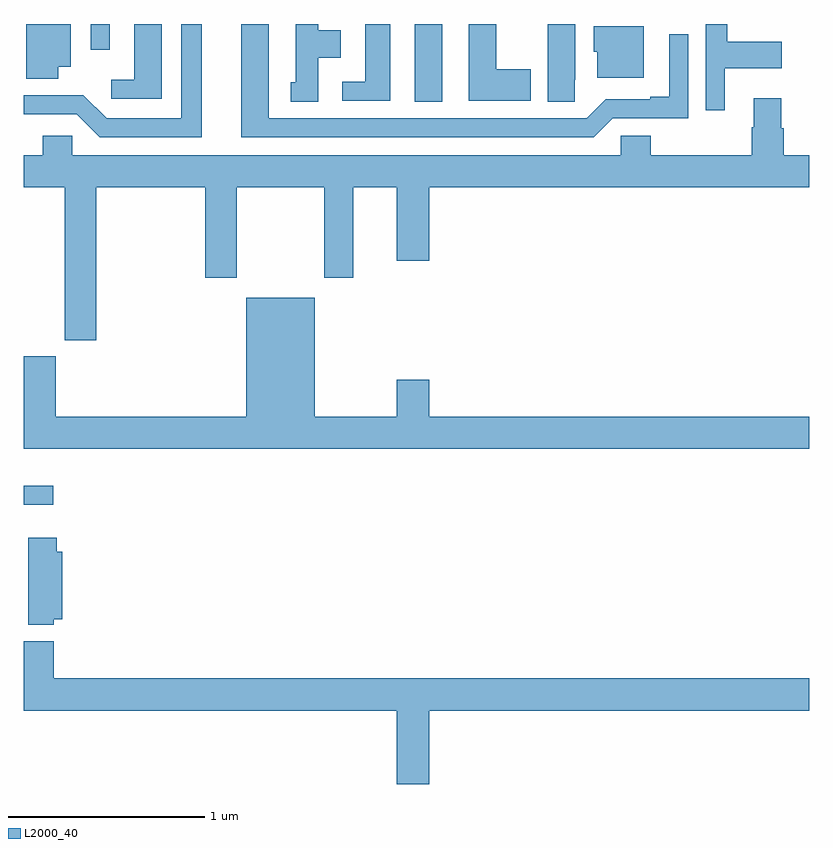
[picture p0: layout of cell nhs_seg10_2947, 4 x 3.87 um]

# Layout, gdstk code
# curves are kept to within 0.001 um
import gdstk
lib = gdstk.Library(unit=1e-6, precision=1e-09)
def R(c, l, rs):  # rectangles x0, y0, x1, y1
    for r in rs: c.add(gdstk.rectangle(r[:2], r[2:], *l))
def P(c, l, *ps):  # polygons
    for p in ps: c.add(gdstk.Polygon(p, *l))
L2000_40 = (2000, 40)

nhs_seg10_2947 = lib.new_cell('nhs_seg10_2947')
R(nhs_seg10_2947, L2000_40, [(271,1280.052,271.15,1280.148), (272.99,1282.105,273.13,1282.5), (271.341,1282.368,271.437,1282.5)])
P(nhs_seg10_2947, L2000_40, [(273.807,1282.216),(273.808,1282.216),(273.808,1282.5),(273.668,1282.5),(273.668,1282.105),(273.807,1282.105)],
  [(272.5,1282.328),(272.614,1282.328),(272.614,1282.468),(272.5,1282.468),(272.5,1282.5),(272.384,1282.5),(272.384,1282.203),(272.36,1282.203),(272.36,1282.105),(272.5,1282.105)],
  [(271.702,1282.5),(271.562,1282.5),(271.562,1282.216),(271.446,1282.216),(271.446,1282.119),(271.702,1282.119)],
  [(271.177,1282.283),(271.24,1282.283),(271.24,1282.5),(271.013,1282.5),(271.013,1282.222),(271.177,1282.222)],
  [(272.866,1282.5),(272.738,1282.5),(272.738,1282.206),(272.622,1282.206),(272.622,1282.11),(272.866,1282.11)],
  [(271.906,1282.5),(271.802,1282.5),(271.802,1282.02),(271.422,1282.02),(271.304,1282.138),(271,1282.137),(271,1282.04),(271.269,1282.041),(271.386,1281.924),(271.906,1281.924)],
  [(273.583,1282.269),(273.406,1282.269),(273.406,1282.5),(273.266,1282.5),(273.266,1282.109),(273.583,1282.109)],
  [(274.57,1282.274),(274.861,1282.274),(274.861,1282.409),(274.582,1282.409),(274.582,1282.5),(274.473,1282.5),(274.473,1282.062),(274.57,1282.062)],
  [(273.999,1282.02),(274.383,1282.02),(274.383,1282.447),(274.286,1282.447),(274.286,1282.129),(274.19,1282.129),(274.19,1282.116),(273.963,1282.116),(273.867,1282.02),(272.248,1282.02),(272.248,1282.5),(272.108,1282.5),(272.108,1281.924),(273.903,1281.924)],
  [(274.156,1282.489),(273.902,1282.489),(273.902,1282.359),(273.92,1282.359),(273.92,1282.226),(274.156,1282.226)],
  [(271.37,1281.668),(271.925,1281.668),(271.925,1281.207),(272.085,1281.207),(272.085,1281.668),(272.53,1281.668),(272.53,1281.207),(272.677,1281.207),(272.677,1281.668),(272.9,1281.668),(272.9,1281.294),(273.064,1281.294),(273.064,1281.668),(275,1281.668),(275,1281.832),(274.871,1281.832),(274.871,1281.969),(274.858,1281.969),(274.858,1282.123),(274.718,1282.123),(274.718,1281.974),(274.706,1281.974),(274.706,1281.832),(274.193,1281.832),(274.193,1281.93),(274.041,1281.93),(274.041,1281.832),(271.248,1281.832),(271.248,1281.93),(271.097,1281.93),(271.097,1281.832),(271,1281.832),(271,1281.668),(271.21,1281.668),(271.21,1280.889),(271.37,1280.889)],
  [(275,1280.5),(273.064,1280.5),(273.064,1280.689),(272.9,1280.689),(272.9,1280.5),(272.482,1280.5),(272.482,1281.106),(272.132,1281.106),(272.132,1280.5),(271.162,1280.5),(271.162,1280.809),(271,1280.809),(271,1280.336),(275,1280.336)],
  [(271.152,1279.469),(271.195,1279.469),(271.195,1279.813),(271.169,1279.813),(271.169,1279.885),(271.022,1279.885),(271.022,1279.442),(271.152,1279.442)],
  [(273.064,1279.004),(275,1279.004),(275,1279.168),(271.154,1279.168),(271.154,1279.357),(271,1279.357),(271,1279.004),(272.9,1279.004),(272.9,1278.63),(273.064,1278.63)])

lib.write_gds('nhs_seg10_2947.gds')
